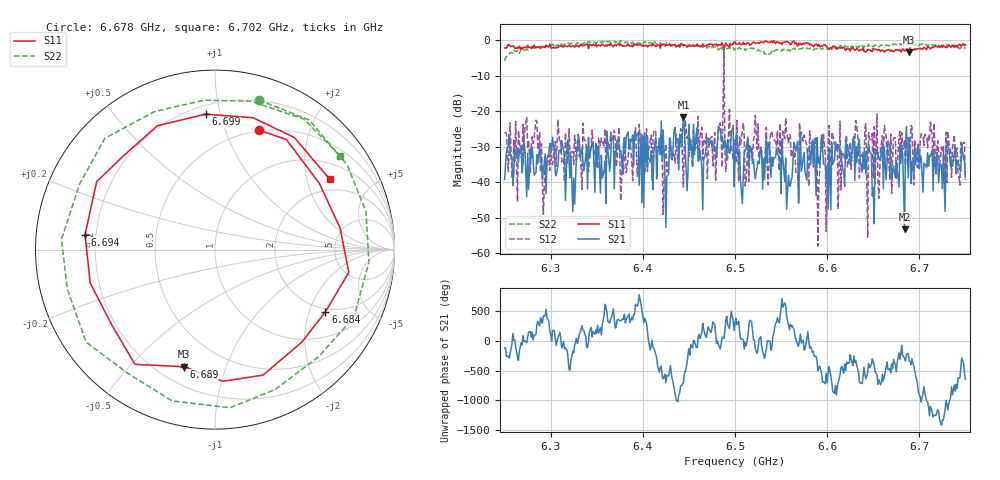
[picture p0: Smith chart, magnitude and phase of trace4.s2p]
# Hz S RI R 50
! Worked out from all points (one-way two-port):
!   401 points, 6.25 GHz to 6.75 GHz, reference 50 ohm
!   highest |S21| = -21.77 dB at 6.444 GHz (marker M1); lowest = -53.2 dB at 6.684 GHz (marker M2)
!   lowest |S11| = -3.4 dB at 6.689 GHz (marker M3), VSWR 5.15, Z = 15.1 - j36.2 ohm
!   |S11| at or under -10 dB: nowhere
!   |S22| runs from -5.8 to -0.1 dB; largest |S21 - S12| = 0.78
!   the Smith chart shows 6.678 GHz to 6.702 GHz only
!   S11 on the Smith chart (normalised r, x): 6.678 GHz: 0.49, +1.31; 6.684 GHz: 1.87, -2.58; 6.689 GHz: 0.30, -0.72; 6.694 GHz: 0.16, +0.06; 6.699 GHz: 0.26, +0.90; 6.702 GHz: 1.54, +2.76
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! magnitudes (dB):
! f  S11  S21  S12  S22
! 6.25 GHz  -2.2  -39.3  -26.2  -5.8
! 6.285 GHz  -1.9  -32.2  -23.0  -2.2
! 6.294 GHz  -2.1  -32.0  -34.6  -2.0
! 6.306 GHz  -2.1  -38.2  -35.5  -1.7
! 6.334 GHz  -1.6  -30.2  -42.0  -1.1
! 6.418 GHz  -1.4  -27.5  -30.3  -1.5
! 6.426 GHz  -1.5  -38.4  -37.2  -0.6
! 6.444 GHz  -1.6  -21.8  -41.3  -1.4
! 6.462 GHz  -1.7  -31.1  -27.2  -2.0
! 6.5 GHz  -0.5  -32.9  -28.2  -2.5
! 6.559 GHz  -0.7  -41.0  -26.6  -2.8
! 6.584 GHz  -1.6  -28.2  -30.4  -2.5
! 6.59 GHz  -1.8  -34.6  -58.0  -2.4
! 6.63 GHz  -2.8  -39.5  -29.4  -2.0
! 6.668 GHz  -2.8  -29.9  -39.2  -1.6
! 6.678 GHz  -3.0  -41.4  -27.3  -1.2
! 6.684 GHz  -3.0  -53.2  -28.2  -1.3
! 6.689 GHz  -3.4  -27.4  -29.2  -1.1
! 6.694 GHz  -2.7  -37.9  -40.8  -1.3
! 6.699 GHz  -2.4  -29.3  -30.4  -1.6
! 6.702 GHz  -2.5  -33.2  -26.4  -1.2
! 6.75 GHz  -1.4  -38.7  -39.4  -2.5
